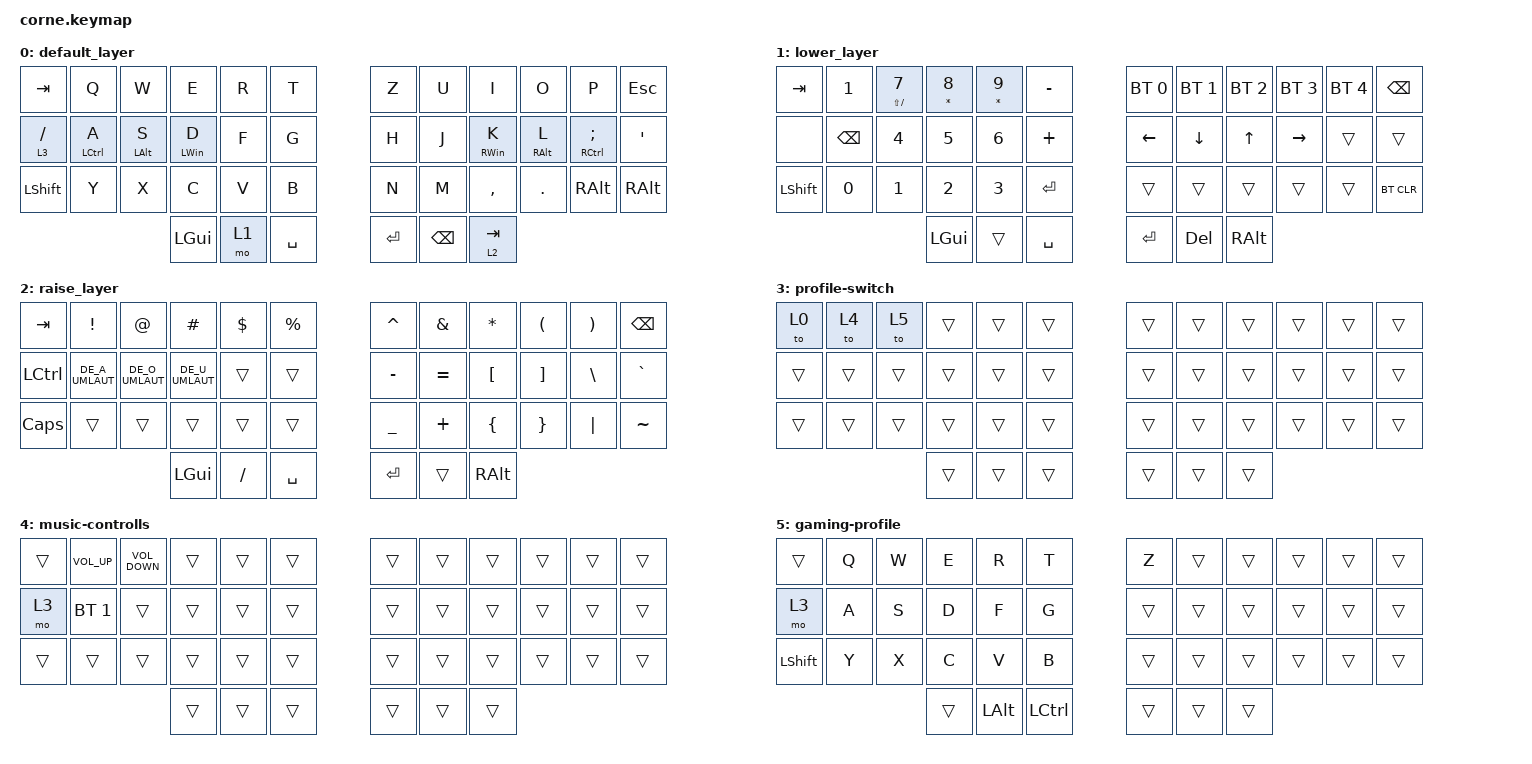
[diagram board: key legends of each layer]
/*
 * Copyright (c) 2020 The ZMK Contributors
 *
 * SPDX-License-Identifier: MIT
 */

#include "keys_de_swiss.h"
#include <behaviors.dtsi>
#include <dt-bindings/zmk/bt.h>
#include <dt-bindings/zmk/keys.h>

/ {
    combos {
        compatible = "zmk,combos";

        semicolon {
            bindings = <&kp SEMICOLON>;
            key-positions = <32 33>;
        };
    };

    behaviors {
        hmr: hmr {
            compatible = "zmk,behavior-hold-tap";
            label = "HMR";
            bindings = <&kp>, <&kp>;

            #binding-cells = <2>;
            tapping-term-ms = <200>;
            quick-tap-ms = <175>;
            flavor = "tap-preferred";
            hold-trigger-key-positions = <6 7 8 9 10 18 19 20 21 22 30 31 32 33 34 39 40 41 35 11 23>;
            hold-trigger-on-release;
        };

        hml: hml {
            compatible = "zmk,behavior-hold-tap";
            label = "HML";
            bindings = <&kp>, <&kp>;

            #binding-cells = <2>;
            tapping-term-ms = <200>;
            quick-tap-ms = <175>;
            flavor = "tap-preferred";
            hold-trigger-key-positions = <0 1 2 3 4 5 12 13 14 15 16 17 24 25 26 27 28 29 36 37 38>;
            hold-trigger-on-release;
        };
    };

    keymap {
        compatible = "zmk,keymap";

        default_layer {
            // -----------------------------------------------------------------------------------------
            // |  TAB |  Q  |  W  |  E  |  R  |  T  |   |  Y  |  U   |  I  |  O  |  P  | BSPC |
            // | CTRL |  A  |  S  |  D  |  F  |  G  |   |  H  |  J   |  K  |  L  |  ;  |  '   |
            // | SHFT |  Z  |  X  |  C  |  V  |  B  |   |  N  |  M   |  ,  |  .  |  /  | ESC  |
            //                    | GUI | LWR | SPC |   | ENT | RSE  | ALT |

            bindings = <
&kp TAB      &kp Q                &kp W            &kp E            &kp R  &kp T        &kp Z    &kp U          &kp I             &kp O             &kp P                    &kp ESCAPE
&lt 3 SLASH  &hml LEFT_CONTROL A  &hml LEFT_ALT S  &hml LEFT_WIN D  &kp F  &kp G        &kp H    &kp J          &hmr RIGHT_WIN K  &hmr RIGHT_ALT L  &hmr RIGHT_CONTROL SEMI  &kp SQT
&kp LSHFT    &kp Y                &kp X            &kp C            &kp V  &kp B        &kp N    &kp M          &kp COMMA         &kp DOT           &kp RIGHT_ALT            &kp RIGHT_ALT
                                                   &kp LGUI         &mo 1  &kp SPACE    &kp RET  &kp BACKSPACE  &lt 2 TAB
            >;
        };

        lower_layer {
            // -----------------------------------------------------------------------------------------
            // |  TAB |  1  |  2  |  3  |  4  |  5  |   |  6  |  7  |  8  |  9  |  0  | BSPC |
            // | BTCLR| BT1 | BT2 | BT3 | BT4 | BT5 |   | LFT | DWN |  UP | RGT |     |      |
            // | SHFT |     |     |     |     |     |   |     |     |     |     |     |      |
            //                    | GUI |     | SPC |   | ENT |     | ALT |

            bindings = <
&kp TAB    &kp N1         &mt LS(SLASH) N7  &mt ASTRK NUMBER_8  &mt ASTRK NUMBER_9  &kp MINUS    &bt BT_SEL 0  &bt BT_SEL 1  &bt BT_SEL 2  &bt BT_SEL 3  &bt BT_SEL 4  &kp BSPC
&none      &kp BACKSPACE  &kp NUMBER_4      &kp NUMBER_5        &kp NUMBER_6        &kp PLUS     &kp LEFT      &kp DOWN      &kp UP        &kp RIGHT     &trans        &trans
&kp LSHFT  &kp NUMBER_0   &kp NUMBER_1      &kp NUMBER_2        &kp NUMBER_3        &kp ENTER    &trans        &trans        &trans        &trans        &trans        &bt BT_CLR
                                            &kp LGUI            &trans              &kp SPACE    &kp RET       &kp DELETE    &kp RALT
            >;
        };

        raise_layer {
            // -----------------------------------------------------------------------------------------
            // |  TAB |  !  |  @  |  #  |  $  |  %  |   |  ^  |  &  |  *  |  (  |  )  | BSPC |
            // | CTRL |     |     |     |     |     |   |  -  |  =  |  [  |  ]  |  \  |  `   |
            // | SHFT |     |     |     |     |     |   |  _  |  +  |  {  |  }  | "|" |  ~   |
            //                    | GUI |     | SPC |   | ENT |     | ALT |

            bindings = <
&kp TAB       &kp EXCL         &kp AT           &kp HASH         &kp DLLR   &kp PRCNT    &kp CARET  &kp AMPS   &kp ASTRK  &kp LPAR  &kp RPAR  &kp BSPC
&kp LCTRL     &kp DE_A_UMLAUT  &kp DE_O_UMLAUT  &kp DE_U_UMLAUT  &trans     &trans       &kp MINUS  &kp EQUAL  &kp LBKT   &kp RBKT  &kp BSLH  &kp GRAVE
&kp CAPSLOCK  &trans           &trans           &trans           &trans     &trans       &kp UNDER  &kp PLUS   &kp LBRC   &kp RBRC  &kp PIPE  &kp TILDE
                                                &kp LGUI         &kp SLASH  &kp SPACE    &kp RET    &trans     &kp RALT
            >;
        };

        profile-switch {
            bindings = <
&to 0   &to 4   &to 5   &trans  &trans  &trans    &trans  &trans  &trans  &trans  &trans  &trans
&trans  &trans  &trans  &trans  &trans  &trans    &trans  &trans  &trans  &trans  &trans  &trans
&trans  &trans  &trans  &trans  &trans  &trans    &trans  &trans  &trans  &trans  &trans  &trans
                        &trans  &trans  &trans    &trans  &trans  &trans
            >;
        };

        music-controlls {
            bindings = <
&trans  &kp K_VOLUME_UP  &kp C_VOLUME_DOWN  &trans  &trans  &trans    &trans  &trans  &trans  &trans  &trans  &trans
&mo 3   &bt BT_SEL 1     &trans             &trans  &trans  &trans    &trans  &trans  &trans  &trans  &trans  &trans
&trans  &trans           &trans             &trans  &trans  &trans    &trans  &trans  &trans  &trans  &trans  &trans
                                            &trans  &trans  &trans    &trans  &trans  &trans
            >;
        };

        gaming-profile {
            bindings = <
&trans          &kp Q  &kp W  &kp E   &kp R         &kp T               &kp Z   &trans  &trans  &trans  &trans  &trans
&mo 3           &kp A  &kp S  &kp D   &kp F         &kp G               &trans  &trans  &trans  &trans  &trans  &trans
&kp LEFT_SHIFT  &kp Y  &kp X  &kp C   &kp V         &kp B               &trans  &trans  &trans  &trans  &trans  &trans
                              &trans  &kp LEFT_ALT  &kp LEFT_CONTROL    &trans  &trans  &trans
            >;
        };
    };
};
